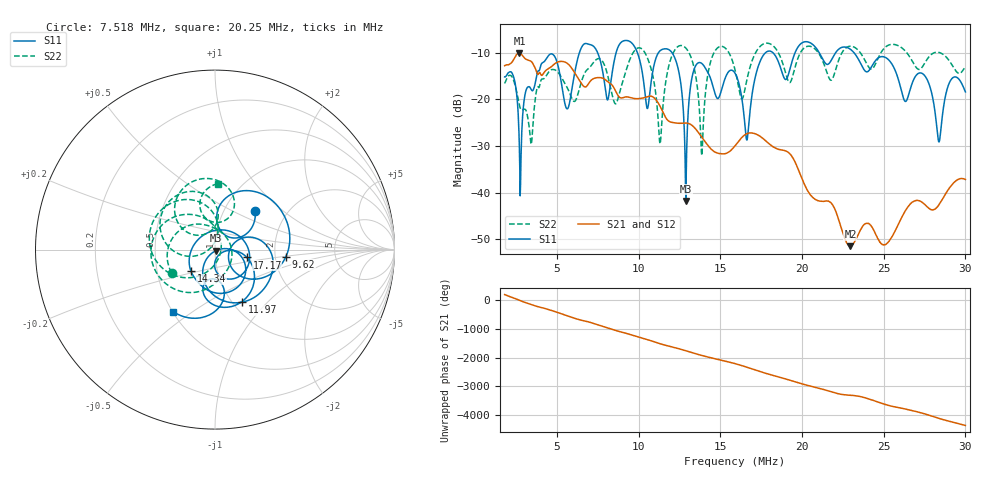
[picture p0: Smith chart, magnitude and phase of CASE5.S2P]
!Agilent Technologies,E5061B,MY49101568,A.02.00
!Date: Wed Mar 01 14:57:49 2023
!Data & Calibration Information:
!Freq	S11:SOLT2(OFF)	S21:SOLT2(OFF)	S12:SOLT2(OFF)	S22:SOLT2(OFF)
# Hz S dB R 50
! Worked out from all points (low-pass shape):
!   1155 points, 1.8 MHz to 30 MHz, reference 50 ohm
!   highest |S21| = -10.06 dB at 2.704 MHz (marker M1); lowest = -51.5 dB at 22.96 MHz (marker M2)
!   |S21| within 3 dB of the highest: start of sweep to 3.641 MHz; 4.631 MHz to 5.857 MHz (1.226 MHz wide, 23.4 % of centre)
!   lowest |S11| = -41.8 dB at 12.89 MHz (marker M3), VSWR 1.02, Z = 50.6 - j0.567 ohm
!   |S11| at or under -10 dB: start of sweep to 6.375 MHz; 12.05 MHz to 17.76 MHz (5.707 MHz wide, 38.3 % of centre); 23.19 MHz to end of sweep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
!   |S22| runs from -32.1 to -7.9 dB; largest |S21 - S12| = 0.004
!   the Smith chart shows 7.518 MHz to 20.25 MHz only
!   S11 on the Smith chart (normalised r, x): 7.518 MHz: 1.39, +0.66; 9.62 MHz: 2.29, -0.22; 11.97 MHz: 1.11, -0.73; 14.34 MHz: 0.74, -0.19; 17.17 MHz: 1.43, -0.13; 20.25 MHz: 0.50, -0.42
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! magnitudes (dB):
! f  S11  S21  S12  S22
! 1.8 MHz  -15.2  -12.8  -12.7  -16.6
! 2.704 MHz  -30.4  -10.1  -10.1  -21.2
! 4.097 MHz  -12.2  -14.8  -14.9  -15.6
! 6.516 MHz  -8.8  -16.7  -16.6  -16.0
! 7.518 MHz  -10.2  -15.3  -15.2  -11.3
! 8.593 MHz  -10.4  -18.2  -18.2  -21.0
! 9.62 MHz  -8.0  -19.7  -19.7  -10.2
! 10.52 MHz  -21.9  -19.4  -19.5  -11.0
! 11.21 MHz  -10.0  -20.8  -20.9  -25.0
! 11.97 MHz  -9.6  -24.9  -24.9  -11.4
! 12.89 MHz  -41.8  -25.1  -25.1  -9.0
! 13.85 MHz  -12.2  -28.0  -28.1  -31.5
! 14.34 MHz  -14.9  -30.3  -30.3  -12.9
! 15.9 MHz  -14.4  -30.0  -30.0  -13.6
! 16.63 MHz  -28.7  -27.4  -27.4  -15.7
! 17.17 MHz  -14.8  -27.4  -27.5  -9.9
! 20.25 MHz  -7.6  -39.0  -39.0  -8.7
! 20.62 MHz  -8.1  -40.9  -40.9  -8.7
! 22.96 MHz  -9.2  -51.5  -51.5  -8.6
! 25.31 MHz  -11.5  -50.5  -50.5  -8.3
! 28.39 MHz  -29.2  -42.6  -42.5  -9.9
! 30 MHz  -18.4  -37.2  -37.2  -12.9
